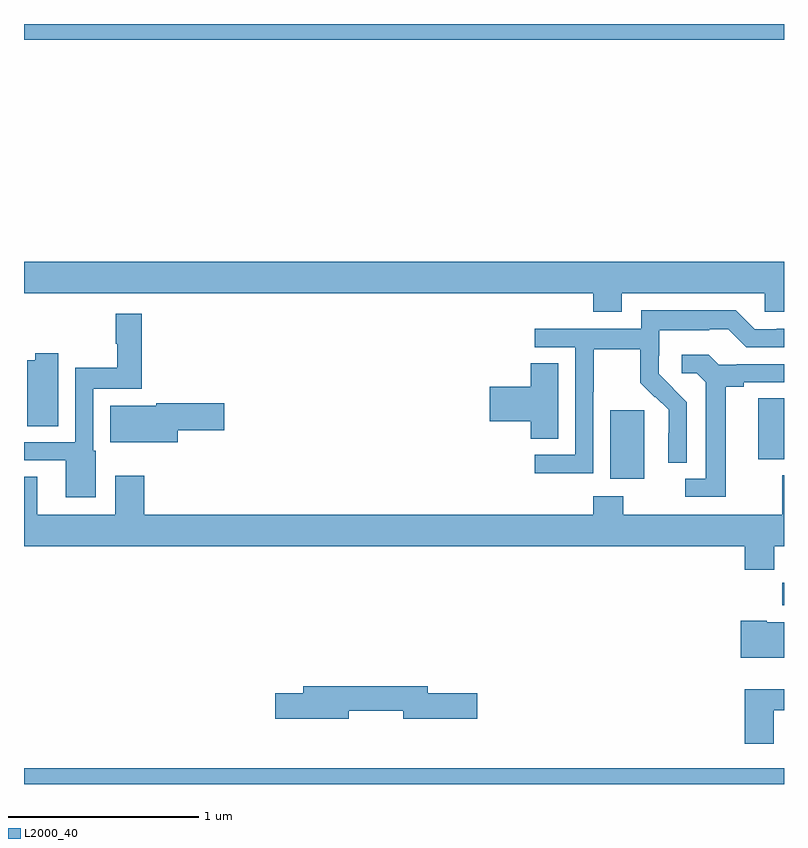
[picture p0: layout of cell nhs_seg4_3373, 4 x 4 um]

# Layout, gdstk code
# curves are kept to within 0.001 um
import gdstk
lib = gdstk.Library(unit=1e-6, precision=1e-09)
def R(c, l, rs):  # rectangles x0, y0, x1, y1
    for r in rs: c.add(gdstk.rectangle(r[:2], r[2:], *l))
def P(c, l, *ps):  # polygons
    for p in ps: c.add(gdstk.Polygon(p, *l))
L2000_40 = (2000, 40)

nhs_seg4_3373 = lib.new_cell('nhs_seg4_3373')
R(nhs_seg4_3373, L2000_40, [(289,796.9,293,796.984), (292.99,797.84,293,797.959), (292.085,798.506,292.264,798.867), (292.865,798.609,293,798.929), (289,800.816,293,800.9)])
P(nhs_seg4_3373, L2000_40, [(292.147,799.484),(292.899,799.484),(292.899,799.386),(293,799.386),(293,799.648),(289,799.648),(289,799.484),(291.995,799.484),(291.995,799.385),(292.147,799.385)],
  [(291.996,798.964),(291.999,798.964),(291.999,799.188),(292.243,799.188),(292.243,799.013),(292.32,798.936),(292.323,798.939),(292.394,798.869),(292.394,798.746),(292.392,798.746),(292.392,798.592),(292.488,798.592),(292.488,798.91),(292.342,799.058),(292.342,799.155),(292.344,799.155),(292.344,799.289),(292.607,799.289),(292.607,799.293),(292.707,799.293),(292.8,799.2),(293,799.2),(293,799.296),(292.961,799.296),(292.961,799.293),(292.845,799.293),(292.745,799.393),(292.248,799.393),(292.248,799.296),(291.687,799.296),(291.687,799.2),(291.9,799.2),(291.9,798.633),(291.687,798.633),(291.687,798.535),(291.996,798.535)],
  [(289.378,798.655),(289.365,798.655),(289.365,798.981),(289.619,798.981),(289.619,799.375),(289.483,799.375),(289.483,799.218),(289.491,799.218),(289.491,799.09),(289.269,799.09),(289.269,798.699),(289,798.699),(289,798.603),(289.22,798.603),(289.22,798.41),(289.378,798.41)],
  [(289.18,799.168),(289.058,799.168),(289.058,799.129),(289.016,799.129),(289.016,798.784),(289.18,798.784)],
  [(292.693,798.992),(292.789,798.992),(292.789,799.014),(293,799.014),(293,799.11),(292.75,799.11),(292.75,799.107),(292.656,799.107),(292.604,799.159),(292.461,799.159),(292.461,799.062),(292.542,799.062),(292.589,799.015),(292.589,798.507),(292.479,798.507),(292.479,798.411),(292.693,798.411)],
  [(291.811,799.115),(291.668,799.115),(291.668,798.992),(291.45,798.992),(291.45,798.809),(291.668,798.809),(291.668,798.718),(291.811,798.718)],
  [(289.81,798.763),(290.053,798.763),(290.053,798.905),(289.696,798.905),(289.696,798.892),(289.454,798.892),(289.454,798.698),(289.81,798.698)],
  [(292.949,798.152),(293,798.152),(293,798.524),(292.991,798.524),(292.991,798.316),(292.155,798.316),(292.155,798.415),(291.995,798.415),(291.995,798.316),(289.634,798.316),(289.634,798.523),(289.481,798.523),(289.481,798.316),(289.069,798.316),(289.069,798.518),(289,798.518),(289,798.152),(292.793,798.152),(292.793,798.028),(292.949,798.028)],
  [(293,797.752),(292.908,797.752),(292.908,797.758),(292.772,797.758),(292.772,797.564),(293,797.564)],
  [(290.71,797.286),(290.996,797.286),(290.996,797.243),(291.385,797.243),(291.385,797.378),(291.124,797.378),(291.124,797.414),(290.471,797.414),(290.471,797.378),(290.322,797.378),(290.322,797.243),(290.71,797.243)],
  [(292.945,797.289),(293,797.289),(293,797.398),(292.793,797.398),(292.793,797.112),(292.945,797.112)])

lib.write_gds('nhs_seg4_3373.gds')
